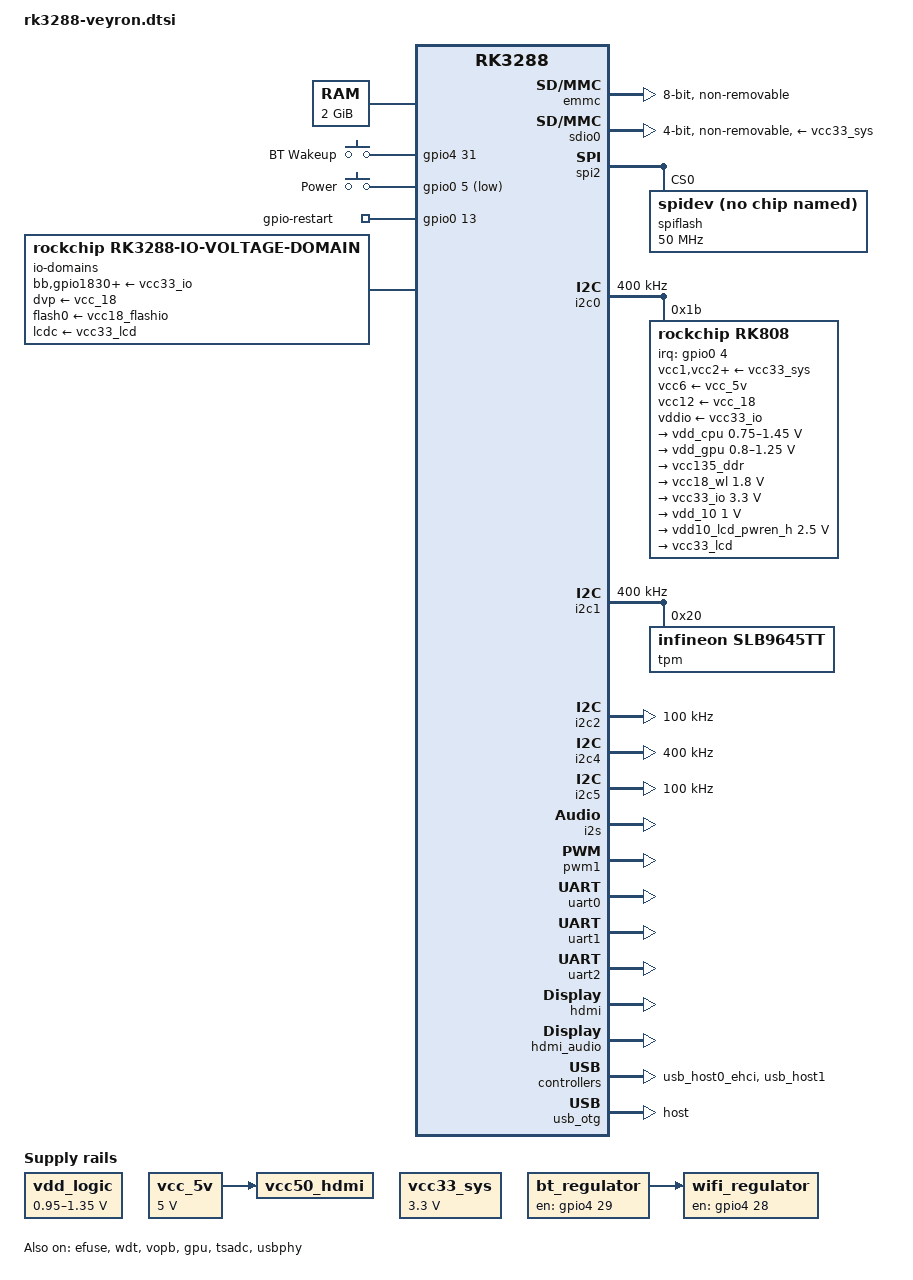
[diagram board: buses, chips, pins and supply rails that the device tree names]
/*
 * Google Veyron (and derivatives) board device tree source
 *
 * Copyright 2014 Google, Inc
 *
 * This program is free software; you can redistribute it and/or modify
 * it under the terms of the GNU General Public License version 2 as
 * published by the Free Software Foundation.
 */

#include <dt-bindings/clock/rockchip,rk808.h>
#include <dt-bindings/input/input.h>
#include "rk3288.dtsi"

/ {
	memory {
		reg = <0x0 0x80000000>;
	};

	firmware {
		chromeos {
			pinctrl-names = "default";
			pinctrl-0 = <&fw_wp_ap &rec_mode_l>;
			write-protect-gpio = <&gpio7 6 GPIO_ACTIVE_LOW>;
			recovery-switch = <&gpio0 9 GPIO_ACTIVE_LOW>;
		};
	};

	gpio_keys: gpio-keys {
		compatible = "gpio-keys";
		#address-cells = <1>;
		#size-cells = <0>;

		pinctrl-names = "default";
		pinctrl-0 = <&bt_host_wake &pwr_key_l>;

		/*
		 * HACK: until we have an LPM driver, we'll use an
		 * ugly GPIO key to allow Bluetooth to wake from S3.
		 * This is expected to only be used by BT modules that
		 * use UART for comms.  For BT modules that talk over
		 * SDIO we should use a wakeup mechanism related to SDIO.
		 */
		bt-wake {
			label = "BT Wakeup";
			gpios = <&gpio4 31 GPIO_ACTIVE_HIGH>;
			linux,code = <KEY_WAKEUP>;
			gpio-key,wakeup;
		};

		power {
			label = "Power";
			gpios = <&gpio0 5 GPIO_ACTIVE_LOW>;
			linux,code = <KEY_POWER>;
			debounce-interval = <100>;
			gpio-key,wakeup;
		};
	};

	gpio-restart {
		compatible = "gpio-restart";
		gpios = <&gpio0 13 GPIO_ACTIVE_HIGH>;
		pinctrl-names = "default";
		pinctrl-0 = <&ap_warm_reset_h>;
		priority = /bits/ 8 <200>;
	};

	vdd_logic: pwm-regulator {
		compatible = "pwm-regulator";
		pwms = <&pwm1 0 2000 0>;

		voltage-table = <1350000 0>,
				<1300000 10>,
				<1250000 20>,
				<1200000 31>,
				<1150000 41>,
				<1100000 52>,
				<1050000 62>,
				<1000000 72>,
				< 950000 83>;

		regulator-min-microvolt = <950000>;
		regulator-max-microvolt = <1350000>;
		regulator-name = "vdd_logic";
		regulator-ramp-delay = <4000>;
	};

	vcc_5v: vcc-5v {
		compatible = "regulator-fixed";
		regulator-name = "vcc_5v";
		regulator-always-on;
		regulator-boot-on;
		regulator-min-microvolt = <5000000>;
		regulator-max-microvolt = <5000000>;
	};

	vcc33_sys: vcc33-sys {
		compatible = "regulator-fixed";
		regulator-name = "vcc33_sys";
		regulator-always-on;
		regulator-boot-on;
		regulator-min-microvolt = <3300000>;
		regulator-max-microvolt = <3300000>;
	};

	vcc50_hdmi: vcc50-hdmi {
		compatible = "regulator-fixed";
		regulator-name = "vcc50_hdmi";
		regulator-always-on;
		regulator-boot-on;
		vin-supply = <&vcc_5v>;
	};

	bt_regulator: bt-regulator {
		/*
		 * On the module itself this is one of these (depending
		 * on the actual card pouplated):
		 * - BT_I2S_WS_BT_RFDISABLE_L
		 * - No connect
		 */

		compatible = "regulator-fixed";
		enable-active-high;
		gpio = <&gpio4 29 GPIO_ACTIVE_HIGH>;
		pinctrl-names = "default";
		pinctrl-0 = <&bt_enable_l>;
		regulator-name = "bt_regulator";
	};

	wifi_regulator: wifi-regulator {
		/*
		 * On the module itself this is one of these (depending
		 * on the actual card populated):
		 * - SDIO_RESET_L_WL_REG_ON
		 * - PDN (power down when low)
		 */

		compatible = "regulator-fixed";
		enable-active-high;
		gpio = <&gpio4 28 GPIO_ACTIVE_HIGH>;
		pinctrl-names = "default";
		pinctrl-0 = <&wifi_enable_h>;
		regulator-name = "wifi_regulator";

		/* Faux input supply.  See bt_regulator description. */
		vin-supply = <&bt_regulator>;
	};

	io-domains {
		compatible = "rockchip,rk3288-io-voltage-domain";
		rockchip,grf = <&grf>;

		bb-supply = <&vcc33_io>;
		dvp-supply = <&vcc_18>;
		flash0-supply = <&vcc18_flashio>;
		gpio1830-supply = <&vcc33_io>;
		gpio30-supply = <&vcc33_io>;
		lcdc-supply = <&vcc33_lcd>;
		wifi-supply = <&vcc18_wl>;
	};
};

&cpu0 {
	cpu0-supply = <&vdd_cpu>;
};

&dmc {
	status = "disabled";
	logic-supply = <&vdd_logic>;
	rockchip,odt-disable-freq = <333000000>;
	rockchip,dll-disable-freq = <333000000>;
	rockchip,sr-enable-freq = <333000000>;
	rockchip,auto-self-refresh-cnt = <0>;
	rockchip,auto-power-down-cnt = <64>;
	rockchip,ddr-speed-bin = <21>;
	rockchip,trcd = <10>;
	rockchip,trp = <10>;
};

&efuse {
	status = "okay";
};

&emmc {
	broken-cd;
	bus-width = <8>;
	cap-mmc-highspeed;
	mmc-hs200-1_8v;
	disable-wp;
	non-removable;
	num-slots = <1>;
	default-sample-phase = <90>;
	pinctrl-names = "default";
	pinctrl-0 = <&emmc_clk &emmc_cmd &emmc_bus8 &emmc_deassert_reset>;
	status = "okay";
};

&sdio0 {
	broken-cd;
	bus-width = <4>;
	cap-sd-highspeed;
	sd-uhs-sdr12;
	sd-uhs-sdr25;
	sd-uhs-sdr50;
	sd-uhs-sdr104;
	cap-sdio-irq;
	card-external-vcc-supply = <&wifi_regulator>;
	clocks = <&cru HCLK_SDIO0>, <&cru SCLK_SDIO0>, <&cru SCLK_SDIO0_DRV>,
		 <&cru SCLK_SDIO0_SAMPLE>, <&rk808 RK808_CLKOUT1>;
	clock-names = "biu", "ciu", "ciu_drv", "ciu_sample", "card_ext_clock";
	keep-power-in-suspend;
	non-removable;
	num-slots = <1>;
	default-sample-phase = <90>;
	pinctrl-names = "default";
	pinctrl-0 = <&sdio0_clk &sdio0_cmd &sdio0_bus4>;
	status = "okay";
	vmmc-supply = <&vcc33_sys>;
	vqmmc-supply = <&vcc18_wl>;
};

&spi2 {
	status = "okay";

	rx-sample-delay-ns = <12>;

	spiflash@0 {
		compatible = "spidev";
		spi-max-frequency = <50000000>;
		reg = <0>;
	};
};

&i2c0 {
	status = "okay";

	clock-frequency = <400000>;
	i2c-scl-falling-time-ns = <50>;		/* 2.5ns measured */
	i2c-scl-rising-time-ns = <100>;		/* 45ns measured */

	rk808: pmic@1b {
		compatible = "rockchip,rk808";
		clock-output-names = "xin32k", "wifibt_32kin";
		interrupt-parent = <&gpio0>;
		interrupts = <4 IRQ_TYPE_LEVEL_LOW>;
		pinctrl-names = "default";
		pinctrl-0 = <&pmic_int_l>;
		reg = <0x1b>;
		rockchip,system-power-controller;
		wakeup-source;
		#clock-cells = <1>;

		vcc1-supply = <&vcc33_sys>;
		vcc2-supply = <&vcc33_sys>;
		vcc3-supply = <&vcc33_sys>;
		vcc4-supply = <&vcc33_sys>;
		vcc6-supply = <&vcc_5v>;
		vcc7-supply = <&vcc33_sys>;
		vcc8-supply = <&vcc33_sys>;
		vcc12-supply = <&vcc_18>;

		vddio-supply = <&vcc33_io>;

		regulators {
			vdd_cpu: DCDC_REG1 {
				regulator-always-on;
				regulator-boot-on;
				regulator-min-microvolt = <750000>;
				regulator-max-microvolt = <1450000>;
				regulator-name = "vdd_arm";
				regulator-ramp-delay = <6001>;
				regulator-suspend-mem-disabled;
			};

			vdd_gpu: DCDC_REG2 {
				regulator-always-on;
				regulator-boot-on;
				regulator-min-microvolt = <800000>;
				regulator-max-microvolt = <1250000>;
				regulator-name = "vdd_gpu";
				regulator-ramp-delay = <6001>;
				regulator-suspend-mem-disabled;
			};

			vcc135_ddr: DCDC_REG3 {
				regulator-always-on;
				regulator-boot-on;
				regulator-name = "vcc135_ddr";
				regulator-suspend-mem-enabled;
			};

			/*
			 * vcc_18 has several aliases.  (vcc18_flashio and
			 * vcc18_wl).  We'll add those aliases here just to
			 * make it easier to follow the schematic.  The signals
			 * are actually hooked together and only separated for
			 * power measurement purposes).
			 */
			vcc18_wl: vcc18_flashio: vcc_18: DCDC_REG4 {
				regulator-always-on;
				regulator-boot-on;
				regulator-min-microvolt = <1800000>;
				regulator-max-microvolt = <1800000>;
				regulator-name = "vcc_18";
				regulator-suspend-mem-microvolt = <1800000>;
			};

			/*
			 * Note that both vcc33_io and vcc33_pmuio are always
			 * powered together. To simplify the logic in the dts
			 * we just refer to vcc33_io every time something is
			 * powered from vcc33_pmuio. In fact, on later boards
			 * (such as danger) they're the same net.
			 */
			vcc33_io: LDO_REG1 {
				regulator-always-on;
				regulator-boot-on;
				regulator-min-microvolt = <3300000>;
				regulator-max-microvolt = <3300000>;
				regulator-name = "vcc33_io";
				regulator-suspend-mem-microvolt = <3300000>;
			};

			vdd_10: LDO_REG3 {
				regulator-always-on;
				regulator-boot-on;
				regulator-min-microvolt = <1000000>;
				regulator-max-microvolt = <1000000>;
				regulator-name = "vdd_10";
				regulator-suspend-mem-microvolt = <1000000>;
			};

			vdd10_lcd_pwren_h: LDO_REG7 {
				regulator-always-on;
				regulator-boot-on;
				regulator-min-microvolt = <2500000>;
				regulator-max-microvolt = <2500000>;
				regulator-name = "vdd10_lcd_pwren_h";
				regulator-suspend-mem-disabled;
			};

			vcc33_lcd: SWITCH_REG1 {
				regulator-always-on;
				regulator-boot-on;
				regulator-name = "vcc33_lcd";
				regulator-suspend-mem-disabled;
			};
		};
	};
};

&i2c1 {
	status = "okay";

	clock-frequency = <400000>;
	i2c-scl-falling-time-ns = <50>;		/* 2.5ns measured */
	i2c-scl-rising-time-ns = <100>;		/* 40ns measured */

	tpm: tpm@20 {
		compatible = "infineon,slb9645tt";
		reg = <0x20>;
		powered-while-suspended;
	};
};

&i2c2 {
	status = "okay";

	/* 100kHz since 4.7k resistors don't rise fast enough */
	clock-frequency = <100000>;
	i2c-scl-falling-time-ns = <50>;		/* 10ns measured */
	i2c-scl-rising-time-ns = <800>;		/* 600ns measured */
};

&i2c4 {
	status = "okay";

	clock-frequency = <400000>;
	i2c-scl-falling-time-ns = <50>;		/* 11ns measured */
	i2c-scl-rising-time-ns = <300>;		/* 225ns measured */
};

&i2c5 {
	status = "okay";

	clock-frequency = <100000>;
	i2c-scl-falling-time-ns = <300>;
	i2c-scl-rising-time-ns = <1000>;
};

&i2s {
	status = "okay";
	clock-names = "i2s_hclk", "i2s_clk", "i2s_clk_out";
	clocks = <&cru HCLK_I2S0>, <&cru SCLK_I2S0>, <&cru SCLK_I2S0_OUT>;
};

&wdt {
	status = "okay";
};

&pwm1 {
	status = "okay";
};

&uart0 {
	status = "okay";

	/* Pins don't include flow control by default; add that in */
	pinctrl-names = "default";
	pinctrl-0 = <&uart0_xfer &uart0_cts &uart0_rts>;

	/* We need to go faster than 24MHz, so adjust clock parents / rates */
	assigned-clocks = <&cru SCLK_UART0>;
	assigned-clock-rates = <48000000>;
};

&uart1 {
	status = "okay";
};

&uart2 {
	status = "okay";
};

&vopb {
	status = "okay";
};

&vopb_mmu {
	status = "okay";
};

&hdmi {
	status = "okay";
};

&hdmi_audio {
	status = "okay";
};

&gpu {
	status = "okay";
};

&tsadc {
	tsadc-tshut-mode = <1>; /* tshut mode 0:CRU 1:GPIO */
	tsadc-tshut-polarity = <1>; /* tshut polarity 0:LOW 1:HIGH */
	status = "okay";
};

&pinctrl {
	pinctrl-names = "default", "sleep";
	pinctrl-0 = <
		/* Common for sleep and wake, but no owners */
		&ddr0_retention
		&ddrio_pwroff
		&global_pwroff

		/* Wake only */
		&bt_dev_wake_awake
	>;
	pinctrl-1 = <
		/* Common for sleep and wake, but no owners */
		&ddr0_retention
		&ddrio_pwroff
		&global_pwroff

		/* Sleep only */
		&bt_dev_wake_sleep
	>;

	pcfg_pull_none_drv_8ma: pcfg-pull-none-drv-8ma {
		bias-disable;
		drive-strength = <8>;
	};

	pcfg_pull_up_drv_8ma: pcfg-pull-up-drv-8ma {
		bias-pull-up;
		drive-strength = <8>;
	};

	pcfg_output_high: pcfg-output-high {
		output-high;
	};

	pcfg_output_low: pcfg-output-low {
		output-low;
	};

	buttons {
		pwr_key_l: pwr-key-l {
			rockchip,pins = <0 5 RK_FUNC_GPIO &pcfg_pull_up>;
		};
	};

	emmc {
		/* Make sure eMMC is not in reset */
		emmc_deassert_reset: emmc-deassert-reset {
			rockchip,pins = <2 9 RK_FUNC_GPIO &pcfg_pull_none>;
		};

		/*
		 * We run eMMC at max speed; bump up drive strength.
		 * We also have external pulls, so disable the internal ones.
		 */
		emmc_clk: emmc-clk {
			rockchip,pins = <3 18 RK_FUNC_2 &pcfg_pull_none_drv_8ma>;
		};

		emmc_cmd: emmc-cmd {
			rockchip,pins = <3 16 RK_FUNC_2 &pcfg_pull_none_drv_8ma>;
		};

		emmc_bus8: emmc-bus8 {
			rockchip,pins = <3 0 RK_FUNC_2 &pcfg_pull_none_drv_8ma>,
					<3 1 RK_FUNC_2 &pcfg_pull_none_drv_8ma>,
					<3 2 RK_FUNC_2 &pcfg_pull_none_drv_8ma>,
					<3 3 RK_FUNC_2 &pcfg_pull_none_drv_8ma>,
					<3 4 RK_FUNC_2 &pcfg_pull_none_drv_8ma>,
					<3 5 RK_FUNC_2 &pcfg_pull_none_drv_8ma>,
					<3 6 RK_FUNC_2 &pcfg_pull_none_drv_8ma>,
					<3 7 RK_FUNC_2 &pcfg_pull_none_drv_8ma>;
		};
	};

	pmic {
		pmic_int_l: pmic-int-l {
			rockchip,pins = <RK_GPIO0 4 RK_FUNC_GPIO &pcfg_pull_up>;
		};
	};

	reboot {
		ap_warm_reset_h: ap-warm-reset-h {
			rockchip,pins = <RK_GPIO0 13 RK_FUNC_GPIO &pcfg_pull_none>;
		};
	};

	sdio0 {
		wifi_enable_h: wifienable-h {
			rockchip,pins = <4 28 RK_FUNC_GPIO &pcfg_pull_none>;
		};

		/* NOTE: mislabelled on schematic; should be bt_enable_h */
		bt_enable_l: bt-enable-l {
			rockchip,pins = <4 29 RK_FUNC_GPIO &pcfg_pull_none>;
		};

		bt_host_wake: bt-host-wake {
			rockchip,pins = <4 31 RK_FUNC_GPIO &pcfg_pull_down>;
		};

		/*
		 * We run sdio0 at max speed; bump up drive strength.
		 * We also have external pulls, so disable the internal ones.
		 */
		sdio0_bus4: sdio0-bus4 {
			rockchip,pins = <4 20 RK_FUNC_1 &pcfg_pull_none_drv_8ma>,
					<4 21 RK_FUNC_1 &pcfg_pull_none_drv_8ma>,
					<4 22 RK_FUNC_1 &pcfg_pull_none_drv_8ma>,
					<4 23 RK_FUNC_1 &pcfg_pull_none_drv_8ma>;
		};

		sdio0_cmd: sdio0-cmd {
			rockchip,pins = <4 24 RK_FUNC_1 &pcfg_pull_none_drv_8ma>;
		};

		sdio0_clk: sdio0-clk {
			rockchip,pins = <4 25 RK_FUNC_1 &pcfg_pull_none_drv_8ma>;
		};

		/*
		 * These pins are only present on very new veyron boards; on
		 * older boards bt_dev_wake is simply always high.  Note that
		 * gpio4_26 is a NC on old veyron boards, so it doesn't hurt
		 * to map this pin everywhere
		 */
		bt_dev_wake_sleep: bt-dev-wake-sleep {
			rockchip,pins = <4 26 RK_FUNC_GPIO &pcfg_output_low>;
		};

		bt_dev_wake_awake: bt-dev-wake-awake {
			rockchip,pins = <4 26 RK_FUNC_GPIO &pcfg_output_high>;
		};
	};

	tpm {
		tpm_int_h: tpm-int-h {
			rockchip,pins = <7 4 RK_FUNC_GPIO &pcfg_pull_none>;
		};
	};

	/*
	 * On Marvell-based hardware this is a no-connect.  Make sure we enable
	 * the pullup so that the line doesn't float.  The pullup shouldn't
	 * hurt on Broadcom-based hardware since the other side is actively
	 * driving this signal.  As proof: we've already got a pullup on RX.
	 */
	uart0 {
		uart0_cts: uart0-cts {
			rockchip,pins = <4 18 RK_FUNC_1 &pcfg_pull_up>;
		};
	};

	write-protect {
		fw_wp_ap: fw-wp-ap {
			rockchip,pins = <7 6 RK_FUNC_GPIO &pcfg_pull_none>;
		};
	};

	recovery-switch {
		rec_mode_l: rec-mode-l {
			rockchip,pins = <0 9 RK_FUNC_GPIO &pcfg_pull_up>;
		};
	};
};

&usbphy {
	status = "okay";
};

&usb_host0_ehci {
	status = "okay";
	needs-reset-on-resume;
};

&usb_host1 {
	status = "okay";
	snps,need-phy-for-wake;
};

&usb_otg {
	dr_mode = "host";
	status = "okay";
	assigned-clocks = <&cru SCLK_USBPHY480M_SRC>;
	assigned-clock-parents = <&cru SCLK_OTGPHY0>;
	snps,need-phy-for-wake;
};
